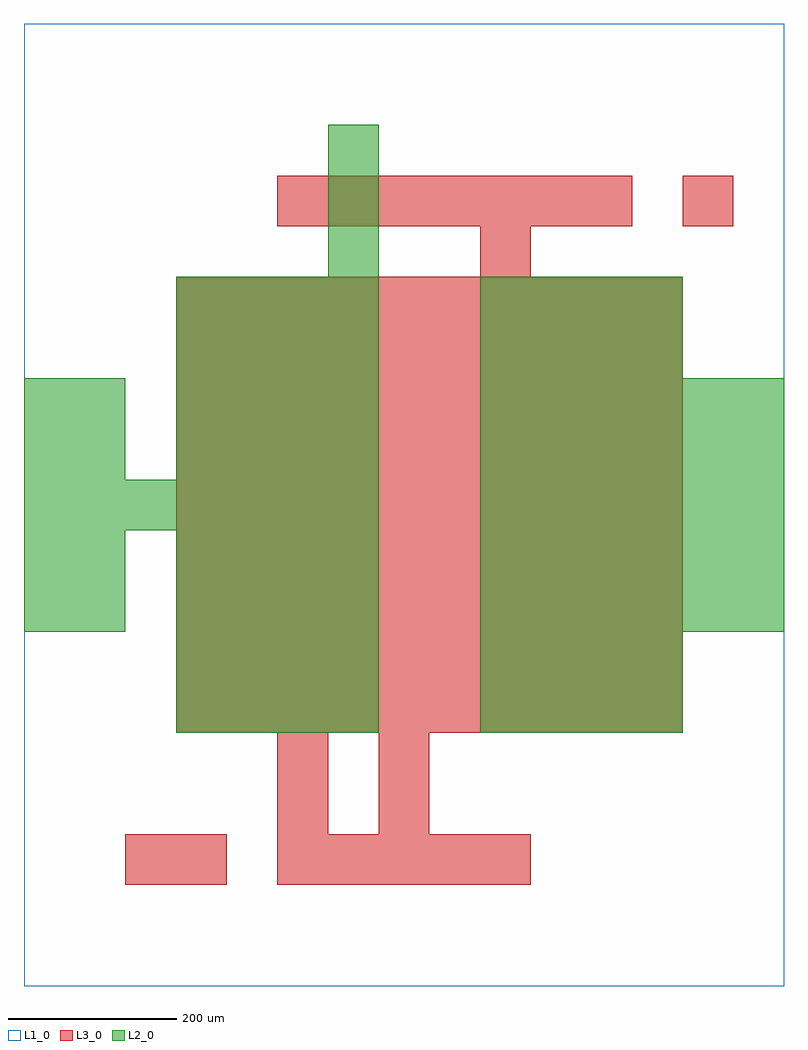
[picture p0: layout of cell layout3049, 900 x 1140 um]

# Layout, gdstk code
import gdstk
lib = gdstk.Library(unit=1e-6, precision=1e-09)
def R(c, l, rs):  # rectangles x0, y0, x1, y1
    for r in rs: c.add(gdstk.rectangle(r[:2], r[2:], *l))
def A(c, l, x, y, w, h, nx, ny, dx, dy):  # array of equal rectangles
    R(c, l, [(x+i*dx, y+j*dy, x+i*dx+w, y+j*dy+h) for i in range(nx) for j in range(ny)])
L1_0 = (1, 0)
L2_0 = (2, 0)
L3_0 = (3, 0)

layout3049 = lib.new_cell('layout3049')
R(layout3049, L1_0, [(0,0,900,1140)])
A(layout3049, L2_0, 180, 300, 60, 60, 4, 4, 60, 60)
A(layout3049, L2_0, 540, 300, 60, 60, 4, 2, 60, 60)
A(layout3049, L2_0, 540, 420, 60, 60, 6, 5, 60, 60)
A(layout3049, L2_0, 0, 540, 60, 60, 7, 1, 60, 0)
A(layout3049, L2_0, 180, 600, 60, 60, 4, 4, 60, 60)
A(layout3049, L2_0, 540, 720, 60, 60, 4, 2, 60, 60)
A(layout3049, L2_0, 360, 840, 60, 60, 1, 3, 0, 60)
R(layout3049, L2_0, [(0,420,60,480), (60,420,120,480), (0,480,60,540), (60,480,120,540), (0,600,60,660), (60,600,120,660), (0,660,60,720), (60,660,120,720)])
A(layout3049, L3_0, 300, 120, 60, 60, 5, 1, 60, 0)
A(layout3049, L3_0, 180, 300, 60, 60, 10, 9, 60, 60)
A(layout3049, L3_0, 300, 900, 60, 60, 7, 1, 60, 0)
R(layout3049, L3_0, [(120,120,180,180), (180,120,240,180), (300,180,360,240), (420,180,480,240), (300,240,360,300), (420,240,480,300), (540,840,600,900), (780,900,840,960)])

lib.write_gds('layout3049.gds')
